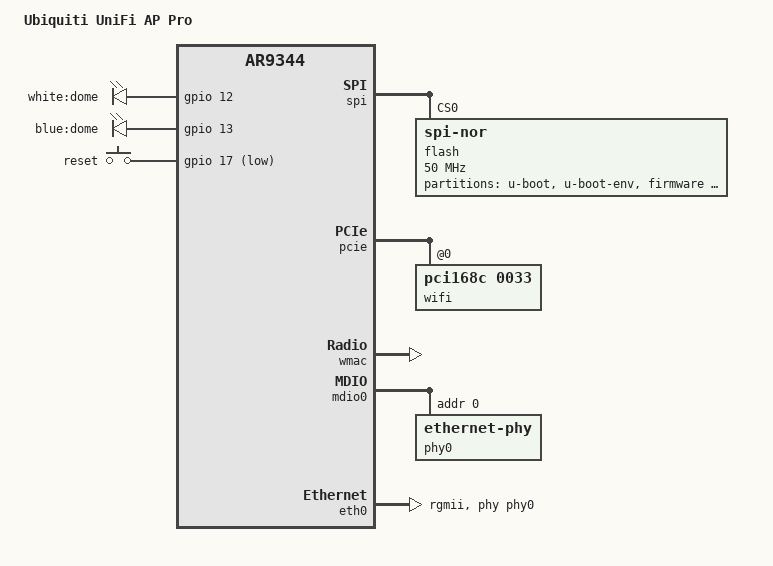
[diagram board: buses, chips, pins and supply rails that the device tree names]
// SPDX-License-Identifier: GPL-2.0-or-later OR MIT

#include "ar9344.dtsi"

#include <dt-bindings/gpio/gpio.h>
#include <dt-bindings/input/input.h>

/ {
	model = "Ubiquiti UniFi AP Pro";
	compatible = "ubnt,unifi-ap-pro";

	aliases {
		led-boot = &led_white;
		led-failsafe = &led_white;
		led-running = &led_blue;
		led-upgrade = &led_blue;
		label-mac-device = &eth0;
	};

	leds {
		compatible = "gpio-leds";

		led_white: led-white {
			label = "white:dome";
			gpios = <&gpio 12 GPIO_ACTIVE_HIGH>;
		};

		led_blue: led-blue {
			label = "blue:dome";
			gpios = <&gpio 13 GPIO_ACTIVE_HIGH>;
		};
	};

	keys {
		compatible = "gpio-keys";

		reset {
			linux,code = <KEY_RESTART>;
			gpios = <&gpio 17 GPIO_ACTIVE_LOW>;
			debounce-interval = <60>;
		};
	};
};

&ref {
	clock-frequency = <40000000>;
};

&spi {
	status = "okay";

	flash@0 {
		compatible = "jedec,spi-nor";
		reg = <0>;
		spi-max-frequency = <50000000>;

		partitions {
			compatible = "fixed-partitions";
			#address-cells = <1>;
			#size-cells = <1>;

			uboot: partition@0 {
				label = "u-boot";
				reg = <0x0 0x40000>;
				read-only;
			};

			partition@40000 {
				label = "u-boot-env";
				reg = <0x40000 0x10000>;
				read-only;
			};

			partition@50000 {
				label = "firmware";
				reg = <0x50000 0xf60000>;

				compatible = "fixed-partitions";
				#address-cells = <1>;
				#size-cells = <1>;

				partition@0 {
					label = "kernel";
					reg = <0x0 0x300000>;
					/* Can be resized w/o issues.
					 * U-Boot can load kernel from the
					 * entirety of the "firmware" partition space.
					 */
				};

				partition@300000 {
					label = "rootfs";
					reg = <0x300000 0xc60000>;
				};
			};

			partition@fb0000 {
				label = "cfg";
				reg = <0xfb0000 0x40000>;
				read-only;
			};

			art: partition@ff0000 {
				label = "art";
				reg = <0xff0000 0x10000>;
				read-only;
			};
		};
	};
};

&pcie {
	status = "okay";

	wifi@0,0 {
		compatible = "pci168c,0033";
		reg = <0 0 0 0 0>;
		qca,no-eeprom;
	};
};

&wmac {
	status = "okay";

	mtd-cal-data = <&art 0x1000>;
};

&mdio0 {
	status = "okay";

	phy0: ethernet-phy@0 {
		reg = <0>;

		qca,ar8327-initvals = <
			0x4 0x7600000 /* PORT0 PAD MODE CTRL */
			0x10 0x80000080 /* POWER_ON_STRAP */
			0x7c 0x7e /* PORT0_STATUS */
			>;
	};
};

&eth0 {
	status = "okay";

	pll-data = <0x6000000 0x101 0x1616>;

	nvmem-cells = <&macaddr_art_0>;
	nvmem-cell-names = "mac-address";

	phy-mode = "rgmii";
	phy-handle = <&phy0>;
};

&art {
	compatible = "nvmem-cells";
	#address-cells = <1>;
	#size-cells = <1>;

	macaddr_art_0: macaddr@0 {
		reg = <0x0 0x6>;
	};
};
